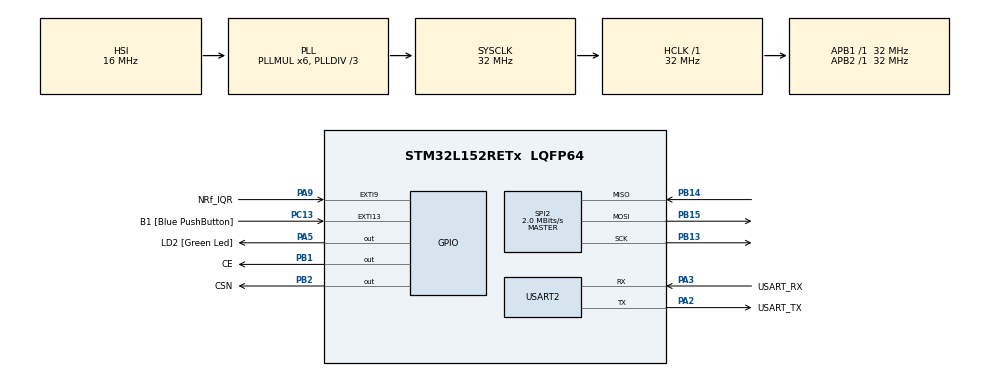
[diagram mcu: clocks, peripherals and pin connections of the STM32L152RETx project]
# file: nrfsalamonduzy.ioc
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Mcu.Family=STM32L1
Mcu.Name=STM32L152RETx
Mcu.Package=LQFP64
NVIC.EXTI9_5_IRQn=true\:0\:0\:false\:true\:true\:1\:true\:true\:true
NVIC.PriorityGroup=NVIC_PRIORITYGROUP_0
PA13.GPIO_Label=TMS
PA13.Mode=Serial_Wire
PA13.Signal=SYS_JTMS-SWDIO
PA14.GPIO_Label=TCK
PA14.Mode=Serial_Wire
PA14.Signal=SYS_JTCK-SWCLK
PA2.GPIO_Label=USART_TX
PA2.Mode=Asynchronous
PA2.Signal=USART2_TX
PA3.GPIO_Label=USART_RX
PA3.Mode=Asynchronous
PA3.Signal=USART2_RX
PA5.GPIO_Label=LD2 [Green Led]
PA5.Signal=GPIO_Output
PA9.GPIO_Label=NRf_IQR
PA9.GPIO_ModeDefaultEXTI=GPIO_MODE_IT_FALLING
PA9.Signal=GPXTI9
PB1.GPIO_Label=CE
PB1.Signal=GPIO_Output
PB13.Mode=Full_Duplex_Master
PB13.Signal=SPI2_SCK
PB14.Mode=Full_Duplex_Master
PB14.Signal=SPI2_MISO
PB15.Mode=Full_Duplex_Master
PB15.Signal=SPI2_MOSI
PB2.GPIO_Label=CSN
PB2.Signal=GPIO_Output
PB3.GPIO_Label=SWO
PB3.Signal=SYS_JTDO-TRACESWO
PC13-WKUP2.GPIO_Label=B1 [Blue PushButton]
PC13-WKUP2.Signal=GPXTI13
PC14-OSC32_IN.Mode=LSE-External-Oscillator
PC14-OSC32_IN.Signal=RCC_OSC32_IN
PC15-OSC32_OUT.Mode=LSE-External-Oscillator
PC15-OSC32_OUT.Signal=RCC_OSC32_OUT
PH0-OSC_IN.Mode=HSE-External-Clock-Source
PH0-OSC_IN.Signal=RCC_OSC_IN
PH1-OSC_OUT.Signal=RCC_OSC_OUT
ProjectManager.HeapSize=0x200
ProjectManager.StackSize=0x400
ProjectManager.TargetToolchain=STM32CubeIDE
RCC.48MHZClocksFreq_Value=48000000
RCC.AHBFreq_Value=32000000
RCC.APB1Freq_Value=32000000
RCC.APB1TimFreq_Value=32000000
RCC.APB2Freq_Value=32000000
RCC.APB2TimFreq_Value=32000000
RCC.HCLKFreq_Value=32000000
RCC.HSE_VALUE=8000000
RCC.HSI_VALUE=16000000
RCC.MSI_VALUE=2097000
RCC.PLLDIV=RCC_PLL_DIV3
RCC.PLLMUL=RCC_PLL_MUL6
RCC.RTCClockSelectionVirtual=RCC_RTCCLKSOURCE_LSE
RCC.SYSCLKFreq_VALUE=32000000
RCC.SYSCLKSource=RCC_SYSCLKSOURCE_PLLCLK
RCC.USBOutput=48000000
RCC.VCOOutputFreq_Value=96000000
SPI2.BaudRatePrescaler=SPI_BAUDRATEPRESCALER_16
SPI2.CalculateBaudRate=2.0 MBits/s
SPI2.Direction=SPI_DIRECTION_2LINES
SPI2.Mode=SPI_MODE_MASTER
SPI2.VirtualType=VM_MASTER
USART2.VirtualMode=VM_ASYNC
board=NUCLEO-L152RE

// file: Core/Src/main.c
/* USER CODE BEGIN Header */
/**
  ******************************************************************************
  * @file           : main.c
  * @brief          : Main program body
  ******************************************************************************
  * @attention
  *
  * Copyright (c) 2023 STMicroelectronics.
  * All rights reserved.
  *
  * This software is licensed under terms that can be found in the LICENSE file
  * in the root directory of this software component.
  * If no LICENSE file comes with this software, it is provided AS-IS.
  *
  ******************************************************************************
  */
/* USER CODE END Header */
#include "main.h"
#include "spi.h"
#include "usart.h"
#include "gpio.h"

/* USER CODE BEGIN Includes */
#include "stdio.h"
#include "nRF24_Defs.h"
#include "nRF24.h"
/* USER CODE END Includes */

/* USER CODE BEGIN PD */
#define MESSAGE_BUFF_LEN 33 // 32 payload + \0
/* USER CODE END PD */

/* USER CODE BEGIN PV */
uint8_t Nrf24_Message[MESSAGE_BUFF_LEN];
uint8_t Message[MESSAGE_BUFF_LEN];
uint8_t MessageLength;
/* USER CODE END PV */

void SystemClock_Config(void);
static void MX_NVIC_Init(void);

int main(void)
{

  /* MCU Configuration--------------------------------------------------------*/

  /* Reset of all peripherals, Initializes the Flash interface and the Systick. */
  HAL_Init();

  /* Configure the system clock */
  SystemClock_Config();

  /* Initialize all configured peripherals */
  MX_GPIO_Init();
  MX_USART2_UART_Init();
  MX_SPI2_Init();

  /* Initialize interrupts */
  MX_NVIC_Init();
  /* USER CODE BEGIN 2 */
  nRF24_Init(&hspi2);

  nRF24_SetRXAddress(0, "Odb");
  nRF24_SetTXAddress("Nad");
  nRF24_RX_Mode();
  //nRF24_RXAvailible();

  /* USER CODE END 2 */

  /* Infinite loop */
  /* USER CODE BEGIN WHILE */
  while (1)
  {
	 // nRF24_RX_Mode();
	  nRF24_Event();

	  //if(nRF24_RXAvailible())
	  {
		  //nRF2_ReadRXPaylaod(Nrf24_Message,1);
		 // MessageLength = sprintf(Message, "%c\n\r", Nrf24_Message[0]);
		 // HAL_UART_Transmit(&huart2, Message, MessageLength, 1000);
		 // HAL_GPIO_TogglePin(LD2_GPIO_Port, LD2_Pin);
	  }
    /* USER CODE END WHILE */

  }
}

void SystemClock_Config(void)
{
  RCC_OscInitTypeDef RCC_OscInitStruct = {0};
  RCC_ClkInitTypeDef RCC_ClkInitStruct = {0};

  /** Configure the main internal regulator output voltage
  */
  __HAL_PWR_VOLTAGESCALING_CONFIG(PWR_REGULATOR_VOLTAGE_SCALE1);

  /** Initializes the RCC Oscillators according to the specified parameters
  * in the RCC_OscInitTypeDef structure.
  */
  RCC_OscInitStruct.OscillatorType = RCC_OSCILLATORTYPE_HSI;
  RCC_OscInitStruct.HSIState = RCC_HSI_ON;
  RCC_OscInitStruct.HSICalibrationValue = RCC_HSICALIBRATION_DEFAULT;
  RCC_OscInitStruct.PLL.PLLState = RCC_PLL_ON;
  RCC_OscInitStruct.PLL.PLLSource = RCC_PLLSOURCE_HSI;
  RCC_OscInitStruct.PLL.PLLMUL = RCC_PLL_MUL6;
  RCC_OscInitStruct.PLL.PLLDIV = RCC_PLL_DIV3;
  if (HAL_RCC_OscConfig(&RCC_OscInitStruct) != HAL_OK)
  {
    Error_Handler();
  }

  /** Initializes the CPU, AHB and APB buses clocks
  */
  RCC_ClkInitStruct.ClockType = RCC_CLOCKTYPE_HCLK|RCC_CLOCKTYPE_SYSCLK
                              |RCC_CLOCKTYPE_PCLK1|RCC_CLOCKTYPE_PCLK2;
  RCC_ClkInitStruct.SYSCLKSource = RCC_SYSCLKSOURCE_PLLCLK;
  RCC_ClkInitStruct.AHBCLKDivider = RCC_SYSCLK_DIV1;
  RCC_ClkInitStruct.APB1CLKDivider = RCC_HCLK_DIV1;
  RCC_ClkInitStruct.APB2CLKDivider = RCC_HCLK_DIV1;

  if (HAL_RCC_ClockConfig(&RCC_ClkInitStruct, FLASH_LATENCY_1) != HAL_OK)
  {
    Error_Handler();
  }
}

/**
  * @brief NVIC Configuration.
  * @retval None
  */
static void MX_NVIC_Init(void)
{
  /* EXTI9_5_IRQn interrupt configuration */
  HAL_NVIC_SetPriority(EXTI9_5_IRQn, 0, 0);
  HAL_NVIC_EnableIRQ(EXTI9_5_IRQn);
}

/* USER CODE BEGIN 4 */
void HAL_GPIO_EXTI_Callback(uint16_t GPIO_Pin)
{
	if(GPIO_Pin == NRf_IQR_Pin)
	{
		nRF24_IRQ_Handler();
		HAL_GPIO_TogglePin(LD2_GPIO_Port, LD2_Pin);

	}
	if(GPIO_Pin == B1_Pin)
	{
		HAL_GPIO_TogglePin(LD2_GPIO_Port, LD2_Pin);
	}
}

void nRF24_EventRxCallback(void)
{
	do
	{
		nRF24_ReceivePacket(Message, &MessageLength);
		Message[MessageLength] = 0; // end of string
		MessageLength = sprintf(Message, "%s\n\r", Message);
		HAL_UART_Transmit(&huart2, Message, MessageLength, 1000);
	}while(!nRF24_IsRxEmpty());

}
/* USER CODE END 4 */

void Error_Handler(void)
{
  __disable_irq();
  while (1)
  {
  }
}
